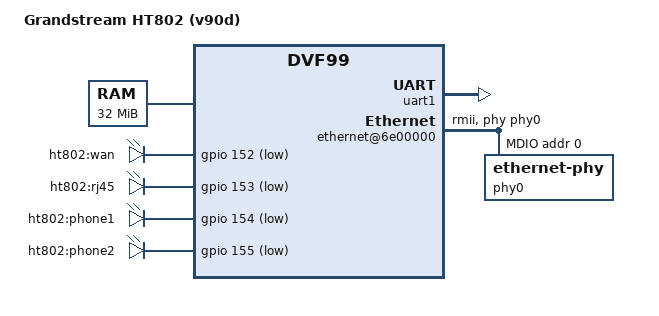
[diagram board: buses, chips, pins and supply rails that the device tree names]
// SPDX-License-Identifier: GPL-2.0
/*
 * Grandstream HT802 V2.x (board 9610003725A): DSPG DVF9918, 32 MiB SDRAM,
 * 16 MiB QSPI flash, one 10/100 port, two FXS ports on Si3217x SLICs.
 *
 * Written for the v90d project from HARDWARE.md and refs/dvf99-*-facts.md.
 * Interrupt numbers are the PLICU source numbers. The boot loader leaves the
 * PLLs running; the rates below are what it sets.
 */
/dts-v1/;

/ {
	#address-cells = <1>;
	#size-cells = <1>;
	model = "Grandstream HT802 (v90d)";
	compatible = "grandstream,ht802", "dspg,dvf9918", "dspg,dvf99";
	interrupt-parent = <&plicu>;

	aliases {
		serial0 = &uart1;
		serial1 = &uart2;
	};

	chosen {
		bootargs = "console=ttyS0,115200 earlycon";
		stdout-path = "serial0:115200n8";
	};

	memory@c8000000 {
		device_type = "memory";
		reg = <0xc8000000 0x02000000>;
	};

	/*
	 * The kernel log, kept where a warm reset and the stock firmware's
	 * boot leave it alone long enough to be read back (bring-up aid).
	 */
	reserved-memory {
		#address-cells = <1>;
		#size-cells = <1>;
		ranges;

		ramoops@c9ce0000 {
			compatible = "ramoops";
			reg = <0xc9ce0000 0x20000>;
			console-size = <0x10000>;
			record-size = <0x4000>;
		};
	};

	cpus {
		#address-cells = <1>;
		#size-cells = <0>;

		cpu@0 {
			device_type = "cpu";
			compatible = "arm,arm926ej-s";
			reg = <0>;
		};
	};

	hclk: clock-hclk {
		compatible = "fixed-clock";
		#clock-cells = <0>;
		clock-frequency = <133333333>;
	};

	/* The lights are lit by a low level (seen on the unit: all four on with
	 * the lines at 0). They show state only: nothing is lit at power-up. */
	leds {
		compatible = "gpio-leds";

		led-wan {
			label = "ht802:wan";
			gpios = <&gpio 152 1>;		/* EGPIO24 */
			default-state = "off";
		};
		led-rj45 {
			label = "ht802:rj45";
			gpios = <&gpio 153 1>;		/* EGPIO25 */
			default-state = "off";
		};
		led-phone1 {
			label = "ht802:phone1";
			gpios = <&gpio 154 1>;		/* EGPIO26 */
			default-state = "off";
		};
		led-phone2 {
			label = "ht802:phone2";
			gpios = <&gpio 155 1>;		/* EGPIO27 */
			default-state = "off";
		};
	};

	soc {
		compatible = "simple-bus";
		#address-cells = <1>;
		#size-cells = <1>;
		ranges;

		gpio: gpio@5000000 {
			compatible = "dspg,dvf99-gpio";
			reg = <0x05000000 0x2b0>;
			gpio-controller;
			#gpio-cells = <2>;
		};

		plicu: interrupt-controller@5100000 {
			compatible = "dspg,dvf99-plicu";
			reg = <0x05100000 0x100>;
			interrupt-controller;
			#interrupt-cells = <1>;
		};

		syscfg: syscon@5200000 {
			compatible = "dspg,dvf99-syscfg", "syscon";
			reg = <0x05200000 0x100>;
		};

		cmu: clock-controller@5300000 {
			compatible = "dspg,dvf99-cmu";
			reg = <0x05300000 0x100>;
		};

		timer@5800000 {
			compatible = "dspg,dvf99-timer";
			reg = <0x05800000 0x40>;
			interrupts = <50>;
			clocks = <&hclk>;
		};

		uart1: serial@5a00000 {
			compatible = "dspg,dvf99-uart";
			reg = <0x05a00000 0x200>;
			interrupts = <55>;
			clocks = <&hclk>;
			dspg,gate = <6>;
		};

		uart2: serial@5b00000 {
			compatible = "dspg,dvf99-uart";
			reg = <0x05b00000 0x200>;
			interrupts = <54>;
			clocks = <&hclk>;
			dspg,gate = <7>;
			status = "disabled";
		};

		/*
		 * The 16 MiB serial flash. The driver erases and programs
		 * nothing outside the ranges of "v90d,writable"; they are the
		 * places our system may have to write in either way the box
		 * can start it, whichever of the two stock sets it was put
		 * into (DESIGN.md, "Release image"; HARDWARE.md has the map):
		 *
		 *   0x060000 64 KiB   set A: first sector of "core" (our loader's
		 *                     signature); bench scheme: the settings
		 *   0x070000  4 KiB   set A: the loader's count of starts
		 *   0x080000 64 KiB   set A: settings
		 *   0x1a0000  4 KiB   set B: first sector of "core"
		 *   0x1b0000  4 KiB   set B: the loader's count of starts
		 *   0x1c0000 64 KiB   set B: settings
		 *   0x2e0000  6 MiB   "base" of set A and of set B: our image
		 *   0xfbe000  8 KiB   U-Boot's saved environment (bench scheme)
		 *
		 * Which of them belong to this box is only known once the
		 * flash has been read, so the narrowing to one set is done by
		 * the one program that writes here (fw/tools/v90nv, on the
		 * "all" device, with its own list). Both boot loaders,
		 * "factory", "nvram", both "prog" and everything else of
		 * "core" stay out of reach of any program.
		 */
		flash@5500000 {
			compatible = "dspg,dvf99-qspi";
			reg = <0x05500000 0x800>, <0x80000000 0x01000000>;
			v90d,writable = <0x060000 0x071000>,
					<0x080000 0x090000>,
					<0x1a0000 0x1a1000>,
					<0x1b0000 0x1b1000>,
					<0x1c0000 0x1d0000>,
					<0x2e0000 0x8e0000>,
					<0xfbe000 0xfc0000>;

			partitions {
				compatible = "fixed-partitions";
				#address-cells = <1>;
				#size-cells = <1>;

				/* the whole chip by physical offset: what v90nv works on */
				all@0 {
					label = "all";
					reg = <0x000000 0x1000000>;
				};
				/*
				 * The three of the bench scheme, kept under their
				 * names and numbers for the bench (flashcp, the
				 * older v90nv commands). On a box started by the
				 * loader from set B the first is stock "core".
				 */
				conf@60000 {
					label = "v90d-conf";
					reg = <0x060000 0x010000>;
				};
				image@2e0000 {
					label = "v90d-image";
					reg = <0x2e0000 0x300000>;
				};
				env@fbe000 {
					label = "uboot-env";
					reg = <0xfbe000 0x002000>;
				};
			};
		};

		watchdog@5700000 {
			compatible = "dspg,dvf99-wdt";
			reg = <0x05700000 0x10>;
		};

		line: line@5f00000 {
			compatible = "v90d,ht802-line";
			reg = <0x05f00000 0x2000>,	/* TDM1 */
			      <0x05e00000 0x100>;	/* SPI2 */
			reg-names = "tdm", "spi";
			interrupts = <60>;
			cs-gpios = <&gpio 112 0>, <&gpio 113 0>;	/* DGPIO16, DGPIO17 */
			reset-gpios = <&gpio 149 0>, <&gpio 147 0>;	/* EGPIO21, EGPIO19 */
		};

		ethernet@6e00000 {
			compatible = "snps,dwmac-3.70a", "snps,dwmac";
			reg = <0x06e00000 0x8000>;
			interrupts = <23>;
			interrupt-names = "macirq";
			clocks = <&hclk>;
			clock-names = "stmmaceth";
			phy-mode = "rmii";
			phy-handle = <&phy0>;
			snps,pbl = <8>;

			mdio {
				compatible = "snps,dwmac-mdio";
				#address-cells = <1>;
				#size-cells = <0>;

				phy0: ethernet-phy@0 {
					reg = <0>;
				};
			};
		};
	};
};
